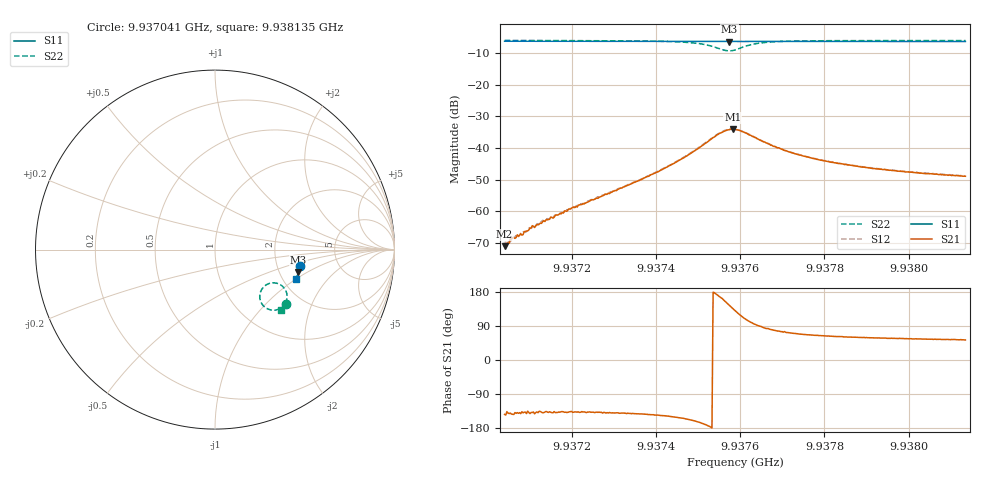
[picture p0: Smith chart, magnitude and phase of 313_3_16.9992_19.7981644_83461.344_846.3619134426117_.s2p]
#  HZ  S  RI  R  50.00
! Rohde & Schwarz Vector Network Analyzer
! Rohde-Schwarz,ZNB20-2Port,1311601062101988,3.16
! Created: UTC 3/20/2024, 11:06:06 PM
! freq[Hz]  re:S11  im:S11  re:S21  im:S21  re:S12  im:S12  re:S22  im:S22
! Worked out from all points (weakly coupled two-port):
!   401 points, 9.937041 GHz to 9.938135 GHz, reference 50 ohm
!   highest |S21| = -34.10 dB at 9.937582 GHz (marker M1); lowest = -71.0 dB at 9.937041 GHz (marker M2)
!   lowest |S11| = -6.4 dB at 9.937574 GHz (marker M3), VSWR 2.85, Z = 127 - j41.2 ohm
!   |S11| at or under -10 dB: nowhere
!   |S22| runs from -9.3 to -6.0 dB; largest |S21 - S12| = 0.00084
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9.9370409e9  0.4761 -0.0906  -0.000226 -0.000167  -0.000258 -0.000191  0.3965 -0.302
9.9370519e9  0.4757 -0.0914  -0.000243 -0.000195  -0.000245 -0.000208  0.3962 -0.3028
9.9370601e9  0.4756 -0.0919  -0.000307 -0.000227  -0.000299 -0.00024  0.3954 -0.3034
9.9370792e9  0.4752 -0.0933  -0.000347 -0.000276  -0.000327 -0.000303  0.394 -0.3048
9.9371038e9  0.4748 -0.0949  -0.000406 -0.000359  -0.00038 -0.000377  0.3921 -0.3065
9.9371367e9  0.4742 -0.0971  -0.000507 -0.000465  -0.000578 -0.000494  0.3896 -0.3089
9.9372242e9  0.4725 -0.103  -0.00092 -0.000883  -0.00101 -0.000846  0.3817 -0.3158
9.9373199e9  0.4707 -0.1095  -0.0018 -0.00149  -0.00183 -0.00149  0.3695 -0.3247
9.9374074e9  0.4688 -0.1156  -0.00355 -0.0024  -0.00369 -0.00241  0.3503 -0.3335
9.9374675e9  0.4672 -0.1195  -0.00638 -0.00305  -0.00659 -0.00297  0.3239 -0.3375
9.937514e9  0.4657 -0.1227  -0.0111 -0.00222  -0.0114 -0.00201  0.2847 -0.3257
9.9375496e9  0.4642 -0.1244  -0.0164 0.0034  -0.0166 0.00368  0.2505 -0.2755
9.9375742e9  0.4634 -0.125  -0.0158 0.0112  -0.0157 0.012  0.2661 -0.2138
9.9375824e9  0.4634 -0.1253  -0.0141 0.0138  -0.0139 0.0143  0.2833 -0.1978
9.9375879e9  0.4635 -0.1254  -0.0126 0.0149  -0.0124 0.0154  0.2969 -0.1907
9.9376179e9  0.4638 -0.1272  -0.00409 0.0161  -0.00364 0.0164  0.365 -0.1962
9.937648e9  0.4636 -0.1292  0.000309 0.0132  0.000778 0.0133  0.394 -0.2276
9.9377054e9  0.4628 -0.1335  0.00235 0.00882  0.0027 0.00877  0.4016 -0.2687
9.9377711e9  0.4613 -0.1382  0.00282 0.00627  0.00294 0.0063  0.3965 -0.2918
9.9378422e9  0.4596 -0.1429  0.00264 0.00492  0.00277 0.00486  0.3896 -0.3058
9.9379543e9  0.4567 -0.1502  0.00239 0.00372  0.00251 0.00374  0.3806 -0.3198
9.9381348e9  0.4521 -0.1618  0.00215 0.00284  0.00221 0.00286  0.3679 -0.3346
